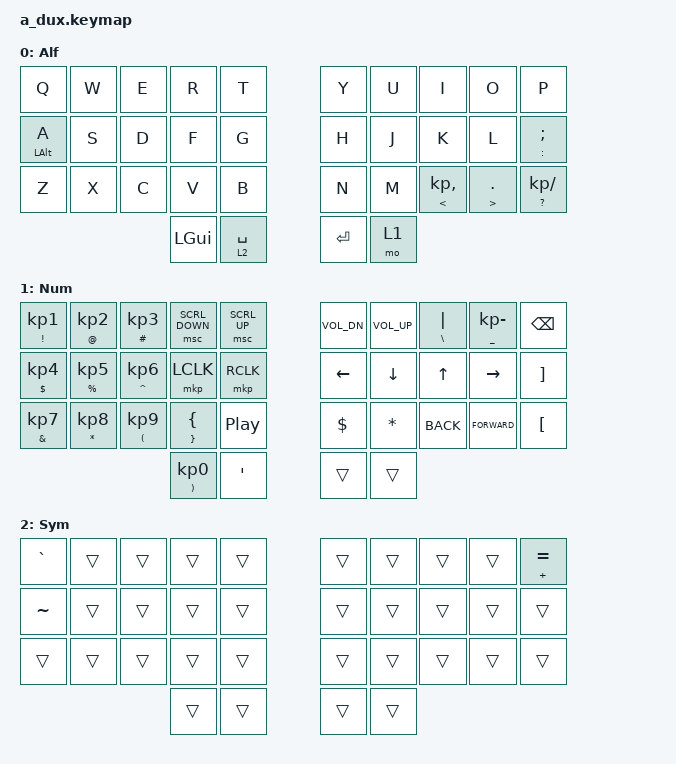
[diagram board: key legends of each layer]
/*
 * Copyright (c) 2021 The ZMK Contributors
 *
 * SPDX-License-Identifier: MIT
 */

#include <behaviors.dtsi>
#include <dt-bindings/zmk/keys.h>
#include <dt-bindings/zmk/pointing.h>

/ {
    combos {
        compatible = "zmk,combos";

        Enter {
            bindings = <&kp ENTER>;
            key-positions = <13 12>;
            timeout-ms = <20>;
        };

        tab {
            bindings = <&kp TAB>;
            key-positions = <16 17>;
            timeout-ms = <20>;
        };

        escape {
            bindings = <&kp ESC>;
            key-positions = <3 2>;
        };
    };

    keymap {
        compatible = "zmk,keymap";

        base_layer {
        display-name = "Alf";
            bindings = <
&kp Q       &kp W  &kp E  &kp R  &kp T                                   &kp Y  &kp U  &kp I                   &kp O                 &kp P
&mt LALT A  &kp S  &kp D  &kp F  &kp G                                   &kp H  &kp J  &kp K                   &kp L                 &mt COLON SEMI
&kp Z       &kp X  &kp C  &kp V  &kp B                                   &kp N  &kp M  &mt LESS_THAN KP_COMMA  &mt GREATER_THAN DOT  &mt QUESTION KP_DIVIDE
                                 &kp LEFT_GUI  &lt 2 SPACE    &kp ENTER  &mo 1
            >;
        };

        layer_1 {
        display-name = "Num";
            bindings = <
&mt EXCL KP_NUMBER_1  &mt AT KP_NUMBER_2     &mt POUND KP_NUMBER_3             &msc SCRL_DOWN              &msc SCRL_UP                             &kp C_VOL_DN  &kp C_VOL_UP  &mt BSLH PIPE  &mt UNDERSCORE KP_MINUS  &kp BSPC
&mt DLLR KP_NUMBER_4  &mt PRCNT KP_NUMBER_5  &mt CARET KP_NUMBER_6             &mkp LCLK                   &mkp RCLK                                &kp LEFT      &kp DOWN      &kp UP         &kp RIGHT                &kp RIGHT_BRACKET
&mt AMPS KP_NUMBER_7  &mt ASTRK KP_NUMBER_8  &mt LEFT_PARENTHESIS KP_NUMBER_9  &mt RIGHT_BRACE LEFT_BRACE  &kp C_PLAY_PAUSE                         &kp DOLLAR    &kp ASTRK     &kp K_BACK     &kp K_FORWARD            &kp LEFT_BRACKET
                                                                                                           &mt RPAR KP_NUMBER_0  &kp SQT    &trans  &trans
            >;
        };

        layer_2 {
        display-name = "Sym";
            bindings = <
&kp GRAVE  &trans  &trans  &trans  &trans                    &trans  &trans  &trans  &trans  &mt PLUS EQUAL
&kp TILDE  &trans  &trans  &trans  &trans                    &trans  &trans  &trans  &trans  &trans
&trans     &trans  &trans  &trans  &trans                    &trans  &trans  &trans  &trans  &trans
                                   &trans  &trans    &trans  &trans
            >;
        };
    };
};
